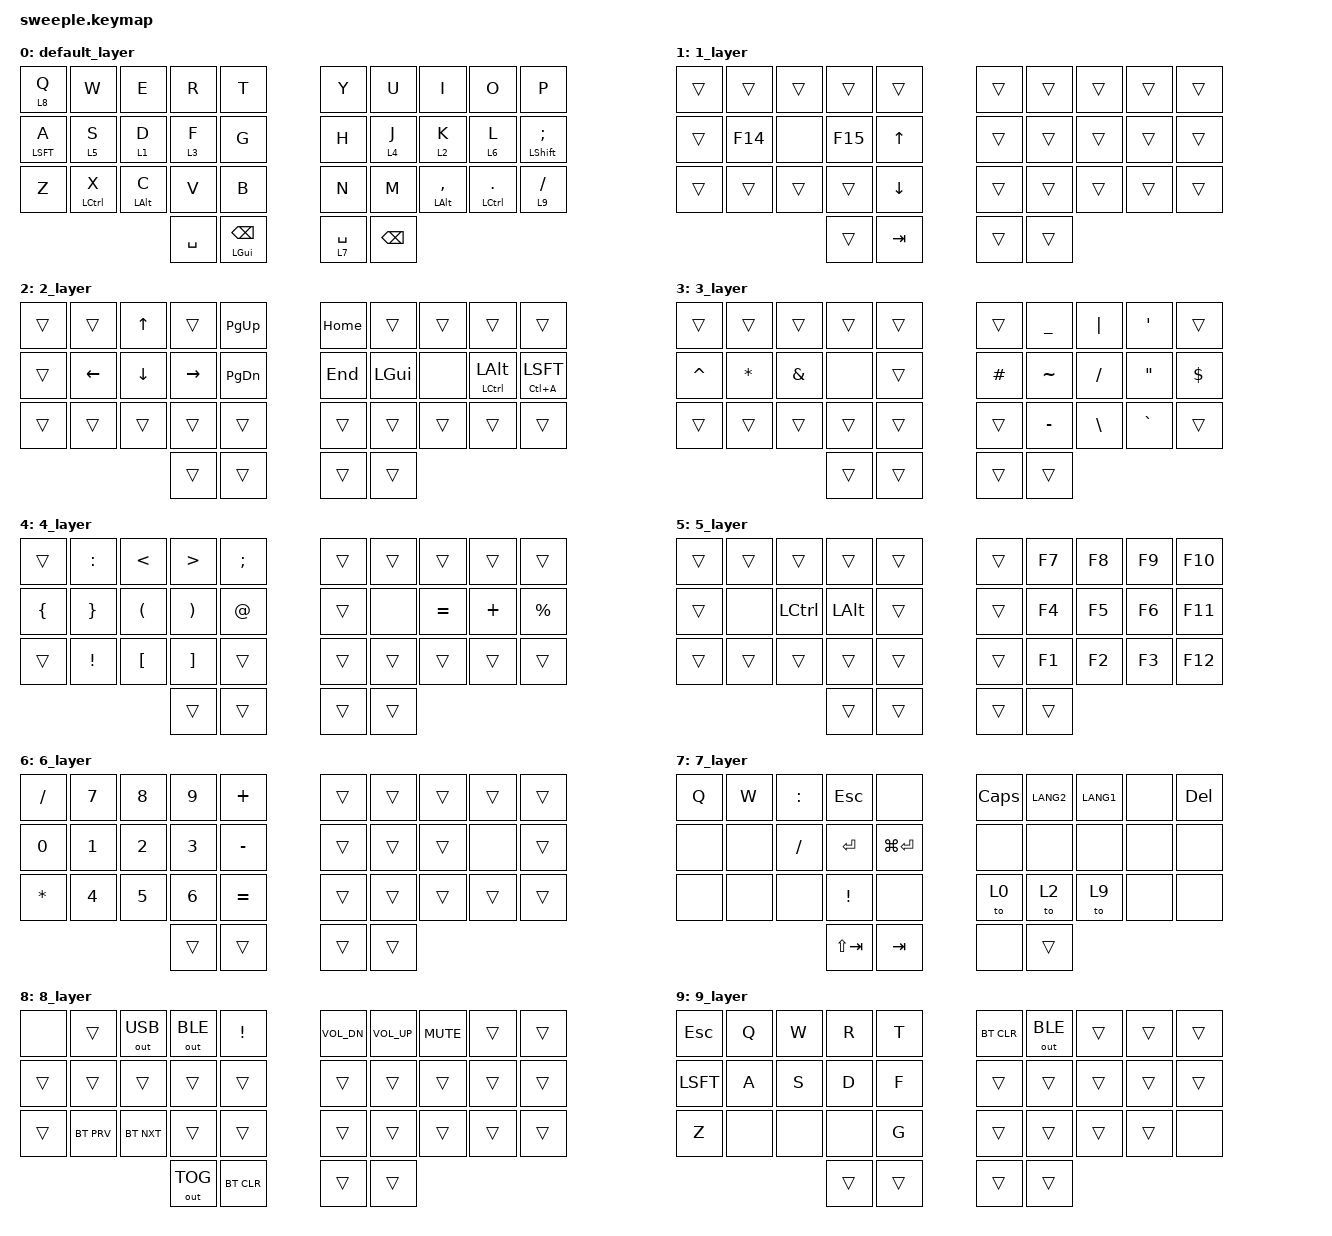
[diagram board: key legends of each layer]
/*
 * Copyright (c) 2020 The ZMK Contributors
 *
 * SPDX-License-Identifier: MIT
 */

#include <behaviors.dtsi>
#include <dt-bindings/zmk/keys.h>
#include <dt-bindings/zmk/bt.h>
#include <dt-bindings/zmk/outputs.h>

&mt {
    tapping-term-ms = <400>;
};

/ { 
    keymap {
        compatible = "zmk,keymap";
                
           default_layer {
        bindings = <
        &lt 8 Q     &kp W        &kp E       &kp R      &kp T          &kp Y        &kp U     &kp I          &kp O          &kp P 
        &mt LSFT A  &lt 5 S      &lt 1 D     &lt 3 F    &kp G          &kp H        &lt 4 J   &lt 2 K        &lt 6 L        &mt LSHFT SEMI
        &kp Z       &mt LCTRL X  &mt LALT C  &kp V      &kp B          &kp N        &kp M     &mt LALT CMMA  &mt LCTRL DOT  &lt 9 SLASH
                                             &kp SPACE  &mt LGUI BSPC  &lt 7 SPACE  &kp BSPC
        >;
        };

           1_layer {
        bindings = <
        &trans      &trans      &trans      &trans      &trans      &trans      &trans      &trans      &trans      &trans
        &trans      &kp F14     &none       &kp F15     &kp UP      &trans      &trans      &trans      &trans      &trans
        &trans      &trans      &trans      &trans      &kp DOWN    &trans      &trans      &trans      &trans      &trans
                                            &trans      &kp TAB     &trans      &trans
        >;
        };

           2_layer {
        bindings = <
        &trans      &trans      &kp UP      &trans      &kp PG_UP      &kp HOME    &trans      &trans      &trans          &trans
        &trans      &kp LEFT    &kp DOWN    &kp RIGHT   &kp PG_DN      &kp END     &kp LGUI    &none       &mt LCTRL LALT  &mt LC(A) LSFT
        &trans      &trans      &trans      &trans      &trans         &trans      &trans      &trans      &trans          &trans
                                            &trans      &trans         &trans      &trans
        >;
        };

           3_layer {
        bindings = <
        &trans      &trans      &trans      &trans      &trans         &trans      &kp UNDER   &kp PIPE    &kp SQT     &trans
        &kp CARET   &kp ASTRK   &kp AMPS    &none       &trans         &kp HASH    &kp TILDE   &kp SLASH   &kp DQT     &kp DLLR
        &trans      &trans      &trans      &trans      &trans         &trans      &kp MINUS   &kp BSLH    &kp GRAVE   &trans
                                            &trans      &trans         &trans      &trans
        >;
        };

           4_layer {
        bindings = <
        &trans      &kp COLON   &kp LT      &kp GT      &kp SEMI       &trans      &trans      &trans      &trans      &trans
        &kp LBRC    &kp RBRC    &kp LPAR    &kp RPAR    &kp AT         &trans      &none       &kp EQUAL   &kp PLUS    &kp PRCNT
        &trans      &kp EXCL    &kp LBKT    &kp RBKT    &trans         &trans      &trans      &trans      &trans      &trans
                                            &trans      &trans         &trans      &trans
        >;
        };

           5_layer {
        bindings = <
        &trans      &trans      &trans          &trans      &trans         &trans      &kp F7      &kp F8      &kp F9      &kp F10
        &trans      &none       &kp LCTRL       &kp LALT    &trans         &trans      &kp F4      &kp F5      &kp F6      &kp F11
        &trans      &trans      &trans          &trans      &trans         &trans      &kp F1      &kp F2      &kp F3      &kp F12
                                                &trans      &trans         &trans      &trans
        >;
        };

           6_layer {
        bindings = <
        &kp SLASH   &kp NUM_7   &kp NUM_8   &kp NUM_9    &kp PLUS       &trans      &trans      &trans      &trans      &trans
        &kp NUM_0   &kp NUM_1   &kp NUM_2   &kp NUM_3    &kp MINUS      &trans      &trans      &trans      &none       &trans
        &kp ASTRK   &kp NUM_4   &kp NUM_5   &kp NUM_6    &kp EQUAL      &trans      &trans      &trans      &trans      &trans
                                            &trans       &trans         &trans      &trans
        >;
        };

           7_layer {
        bindings = <
        &kp Q       &kp W       &kp COLON   &kp ESC      &none          &kp CAPS     &kp LANG2    &kp LANG1    &none    &kp DEL
        &none       &none       &kp FSLH    &kp ENTER    &kp LG(ENTER)  &none        &none        &none        &none    &none
        &none       &none       &none       &kp EXCL     &none          &to 0        &to 2        &to 9        &none    &none
                                            &kp LS(TAB)  &kp TAB        &none        &trans
        >;
        };
      
           8_layer {
        bindings = <
        &none       &trans      &out OUT_USB  &out OUT_BLE   &kp EXCL       &kp C_VOL_DN &kp C_VOL_UP &kp C_MUTE  &trans      &trans
        &trans      &trans      &trans        &trans         &trans         &trans       &trans       &trans      &trans      &trans
        &trans      &bt BT_PRV  &bt BT_NXT    &trans         &trans         &trans       &trans       &trans      &trans      &trans
                                              &out OUT_TOG   &bt BT_CLR     &trans       &trans
        >;
        };
        
           9_layer {
        bindings = <
        &kp ESC     &kp Q       &kp W      &kp R      &kp T         &bt BT_CLR  &out OUT_BLE  &trans     &trans     &trans
        &kp LSFT    &kp A       &kp S      &kp D      &kp F         &trans      &trans        &trans     &trans     &trans
        &kp Z       &none       &none      &none      &kp G         &trans      &trans        &trans     &trans     &none
                                           &trans     &trans        &trans      &trans
        >;
        };
        
        //    99_layer {
        // bindings = <
        // &trans      &trans      &trans      &trans      &trans         &trans      &trans      &trans      &trans      &trans
        // &trans      &trans      &trans      &trans      &trans         &trans      &trans      &trans      &trans      &trans
        // &trans      &trans      &trans      &trans      &trans         &trans      &trans      &trans      &trans      &trans
        //                                     &trans      &trans         &trans      &trans
        // >;
        // };
        
    };
};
